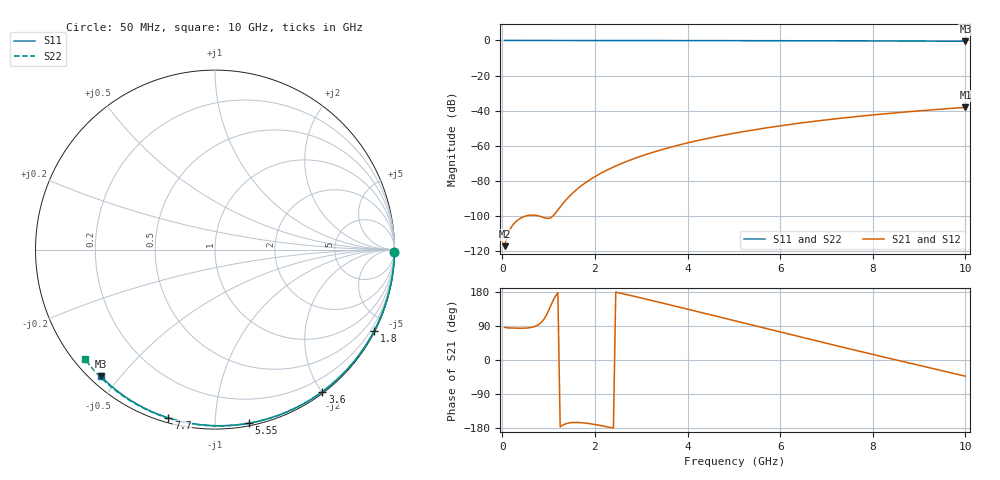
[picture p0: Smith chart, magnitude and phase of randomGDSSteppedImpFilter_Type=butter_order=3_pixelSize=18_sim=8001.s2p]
! freq	dB(S11)	phase(S11)	dB(S12)	phase(S12)
!  dB(S21)	phase(S21)	dB(S22)	phase(S22)
!S-par simulation data
#  GHz  S  DB  R 50
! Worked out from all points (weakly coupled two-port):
!   200 points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, 50 MHz to 10 GHz, reference 50 ohm
!   highest |S21| = -38.06 dB at 10 GHz (marker M1); lowest = -117.0 dB at 50 MHz (marker M2)
!   lowest |S11| = -0.4 dB at 10 GHz (marker M3), VSWR 39.16, Z = 1.53 - j22.3 ohm
!   |S11| at or under -10 dB: nowhere
!   |S22| runs from -0.5 to 0.0 dB; largest |S21 - S12| = 0
!   S11 on the Smith chart (normalised r, x): 50 MHz: open; 1.8 GHz: 0.04, -4.16; 3.6 GHz: 0.02, -2.01; 5.55 GHz: 0.02, -1.21; 7.7 GHz: 0.02, -0.76; 10 GHz: 0.03, -0.45
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0.05  -0.00 -0.8  -116.99 86.3  -116.99 86.3  -0.00 -0.8
0.45  -0.01 -6.9  -100.37 83.9  -100.37 83.9  -0.01 -7.3
0.9  -0.02 -13.7  -100.80 107.7  -100.80 107.7  -0.02 -14.5
1.75  -0.03 -26.3  -81.76 -165.9  -81.76 -165.9  -0.04 -27.9
1.8  -0.03 -27.1  -80.82 -166.6  -80.82 -166.6  -0.04 -28.7
1.85  -0.04 -27.8  -79.93 -167.4  -79.93 -167.4  -0.04 -29.5
2  -0.04 -30.0  -77.45 -170.1  -77.45 -170.1  -0.04 -31.8
2.15  -0.04 -32.2  -75.23 -173.4  -75.23 -173.4  -0.04 -34.2
2.35  -0.04 -35.1  -72.60 -178.3  -72.60 -178.3  -0.05 -37.2
2.55  -0.05 -38.0  -70.25 176.4  -70.25 176.4  -0.05 -40.3
2.95  -0.06 -43.8  -66.22 165.2  -66.22 165.2  -0.06 -46.4
3.4  -0.07 -50.1  -62.43 152.0  -62.43 152.0  -0.07 -53.1
3.6  -0.07 -52.9  -60.95 146.1  -60.95 146.1  -0.08 -56.1
4.3  -0.09 -62.5  -56.45 125.0  -56.45 125.0  -0.09 -66.2
5.05  -0.11 -72.5  -52.55 102.4  -52.55 102.4  -0.12 -76.7
5.55  -0.13 -79.0  -50.34 87.3  -50.34 87.3  -0.14 -83.6
6.1  -0.15 -86.0  -48.18 70.8  -48.18 70.8  -0.16 -90.9
6.7  -0.18 -93.5  -46.10 52.9  -46.10 52.9  -0.19 -98.8
7.7  -0.24 -105.5  -43.15 23.5  -43.15 23.5  -0.25 -111.5
8.35  -0.29 -113.1  -41.50 4.6  -41.50 4.6  -0.31 -119.6
9.2  -0.36 -122.9  -39.61 -19.8  -39.61 -19.8  -0.38 -130.0
10  -0.44 -132.0  -38.06 -42.7  -38.06 -42.7  -0.47 -139.7
